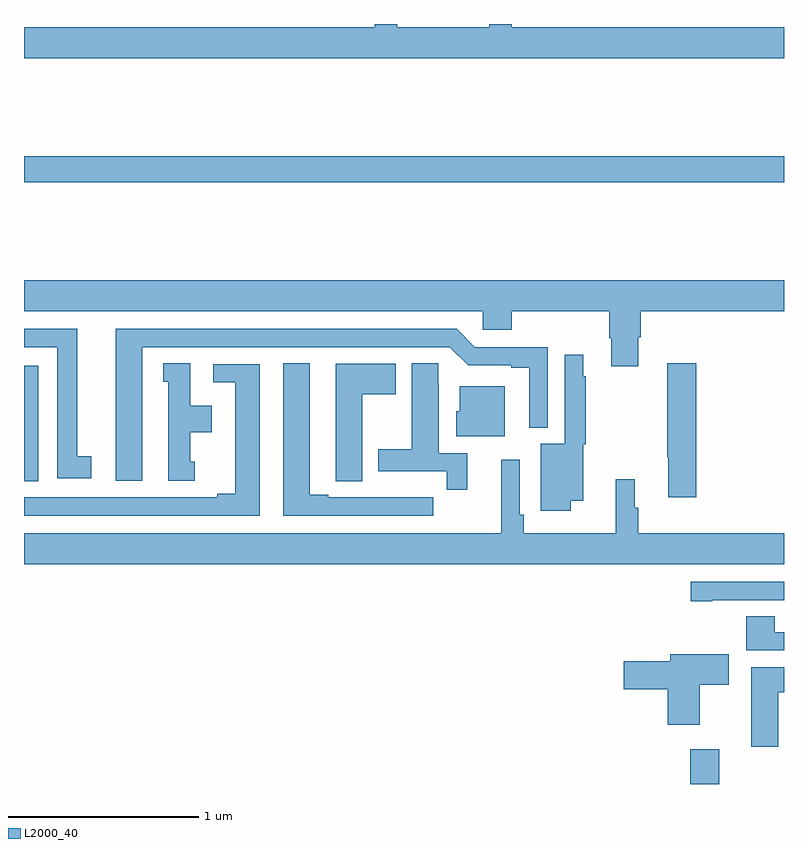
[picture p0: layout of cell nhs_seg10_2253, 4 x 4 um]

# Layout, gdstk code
import gdstk
lib = gdstk.Library(unit=1e-6, precision=1e-09)
def R(c, l, rs):  # rectangles x0, y0, x1, y1
    for r in rs: c.add(gdstk.rectangle(r[:2], r[2:], *l))
def P(c, l, *ps):  # polygons
    for p in ps: c.add(gdstk.Polygon(p, *l))
L2000_40 = (2000, 40)

nhs_seg10_2253 = lib.new_cell('nhs_seg10_2253')
R(nhs_seg10_2253, L2000_40, [(234.506,1292.5,234.658,1292.683), (231,1294.093,231.076,1294.701), (231,1295.668,235,1295.804)])
P(nhs_seg10_2253, L2000_40, [(235,1296.484),(233.567,1296.484),(233.567,1296.5),(233.449,1296.5),(233.449,1296.484),(232.964,1296.484),(232.964,1296.5),(232.847,1296.5),(232.847,1296.484),(231,1296.484),(231,1296.32),(235,1296.32)],
  [(234.232,1294.851),(234.245,1294.851),(234.245,1294.988),(235,1294.988),(235,1295.152),(231,1295.152),(231,1294.988),(233.415,1294.988),(233.415,1294.89),(233.567,1294.89),(233.567,1294.988),(234.08,1294.988),(234.08,1294.846),(234.092,1294.846),(234.092,1294.698),(234.232,1294.698)],
  [(231.622,1294.8),(233.241,1294.8),(233.337,1294.704),(233.564,1294.704),(233.564,1294.692),(233.66,1294.692),(233.66,1294.376),(233.757,1294.376),(233.757,1294.8),(233.373,1294.8),(233.277,1294.896),(231.482,1294.896),(231.482,1294.095),(231.622,1294.095)],
  [(231.355,1294.226),(231.28,1294.226),(231.28,1294.896),(231,1294.896),(231,1294.8),(231.176,1294.8),(231.176,1294.11),(231.355,1294.11)],
  [(233.878,1293.992),(233.944,1293.992),(233.944,1294.287),(233.956,1294.287),(233.956,1294.646),(233.944,1294.646),(233.944,1294.759),(233.847,1294.759),(233.847,1294.291),(233.72,1294.291),(233.72,1293.939),(233.878,1293.939)],
  [(231.898,1294.197),(231.874,1294.197),(231.874,1294.352),(231.988,1294.352),(231.988,1294.492),(231.874,1294.492),(231.874,1294.715),(231.734,1294.715),(231.734,1294.617),(231.758,1294.617),(231.758,1294.095),(231.898,1294.095)],
  [(233.333,1294.242),(233.182,1294.242),(233.182,1294.604),(233.181,1294.604),(233.181,1294.715),(233.042,1294.715),(233.042,1294.263),(232.865,1294.263),(232.865,1294.146),(233.224,1294.146),(233.224,1294.05),(233.333,1294.05)],
  [(233.155,1294.008),(233.042,1294.008),(233.042,1294.009),(232.876,1294.009),(232.876,1294.008),(232.6,1294.008),(232.6,1294.023),(232.504,1294.023),(232.504,1294.715),(232.364,1294.715),(232.364,1293.912),(233.155,1293.912)],
  [(234.539,1294.714),(234.385,1294.714),(234.385,1294.22),(234.392,1294.22),(234.392,1294.008),(234.539,1294.008)],
  [(232.78,1294.552),(232.957,1294.552),(232.957,1294.711),(232.64,1294.711),(232.64,1294.201),(232.641,1294.201),(232.641,1294.093),(232.78,1294.093)],
  [(232.24,1294.71),(231.996,1294.71),(231.996,1294.614),(232.112,1294.614),(232.112,1294.028),(232.016,1294.028),(232.016,1294.008),(231,1294.008),(231,1293.912),(232.24,1293.912)],
  [(233.53,1294.594),(233.294,1294.594),(233.294,1294.461),(233.276,1294.461),(233.276,1294.331),(233.53,1294.331)],
  [(235,1293.82),(234.233,1293.82),(234.233,1293.954),(234.214,1293.954),(234.214,1294.105),(234.115,1294.105),(234.115,1293.82),(233.63,1293.82),(233.63,1293.916),(233.61,1293.916),(233.61,1294.207),(233.513,1294.207),(233.513,1293.82),(231,1293.82),(231,1293.656),(235,1293.656)],
  [(234.622,1293.468),(235,1293.468),(235,1293.564),(234.51,1293.564),(234.51,1293.463),(234.622,1293.463)],
  [(235,1293.3),(234.952,1293.3),(234.952,1293.383),(234.8,1293.383),(234.8,1293.204),(235,1293.204)],
  [(234.556,1293.022),(234.709,1293.022),(234.709,1293.184),(234.401,1293.184),(234.401,1293.146),(234.156,1293.146),(234.156,1292.999),(234.389,1292.999),(234.389,1292.811),(234.556,1292.811)],
  [(234.97,1292.984),(235,1292.984),(235,1293.115),(234.827,1293.115),(234.827,1292.697),(234.97,1292.697)])

lib.write_gds('nhs_seg10_2253.gds')
